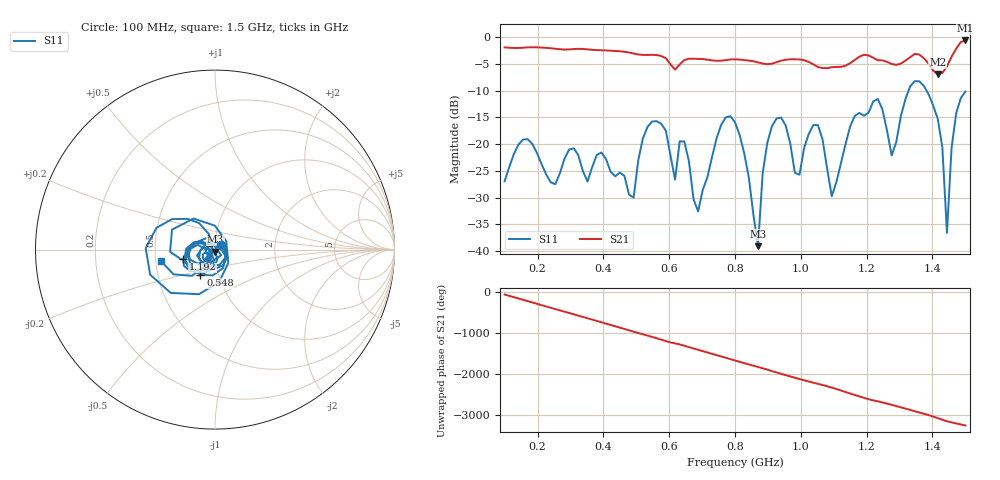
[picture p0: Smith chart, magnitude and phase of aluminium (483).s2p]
! NanoVNA-App
! Date: 2025-09-25 14:59:02
! Start: 100MHz Stop: 1,5GHz Points: 101
! S-Parameter data: F S11 S21 S12 S22
# Hz S RI R 50
!  Frequency  S11_Real  S11_Imag  S21_Real  S21_Imag  S12_Real  S12_Imag  S22_Real  S22_Imag
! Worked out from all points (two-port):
!   101 points, 100 MHz to 1.5 GHz, reference 50 ohm
!   highest |S21| = -0.62 dB at 1.5 GHz (marker M1); lowest = -7.0 dB at 1.416 GHz (marker M2)
!   |S21| within 3 dB of the highest: start of sweep to 578.8 MHz; 1.458 GHz to end of sweep (the widest 2 of 4)
!   lowest |S11| = -39.1 dB at 870 MHz (marker M3), VSWR 1.02, Z = 50.1 - j1.1 ohm
!   |S11| at or under -10 dB: start of sweep to 1.327 GHz; 1.382 GHz to end of sweep
!   S12 and S22 are empty: the file has one direction only
!   S11 on the Smith chart (normalised r, x): 100 MHz: 1.07, +0.06; 548 MHz: 0.82, -0.24; 1.192 GHz: 0.70, -0.08; 1.5 GHz: 0.53, -0.07
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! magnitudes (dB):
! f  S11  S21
! 100 MHz  -27.0  -1.9
! 156 MHz  -19.1  -2.0
! 338 MHz  -25.1  -2.2
! 492 MHz  -30.0  -3.1
! 548 MHz  -15.8  -3.3
! 576 MHz  -16.2  -3.5
! 618 MHz  -26.7  -6.1
! 646 MHz  -19.5  -4.3
! 688 MHz  -32.6  -4.1
! 800 MHz  -15.9  -4.2
! 870 MHz  -39.1  -4.7
! 912 MHz  -16.7  -5.0
! 996 MHz  -25.7  -4.2
! 1.038 GHz  -16.4  -5.1
! 1.094 GHz  -29.8  -5.6
! 1.192 GHz  -14.7  -3.3
! 1.276 GHz  -22.1  -5.0
! 1.346 GHz  -8.2  -3.1
! 1.416 GHz  -15.3  -7.0
! 1.444 GHz  -36.6  -5.5
! 1.458 GHz  -20.7  -3.7
! 1.5 GHz  -10.2  -0.6
